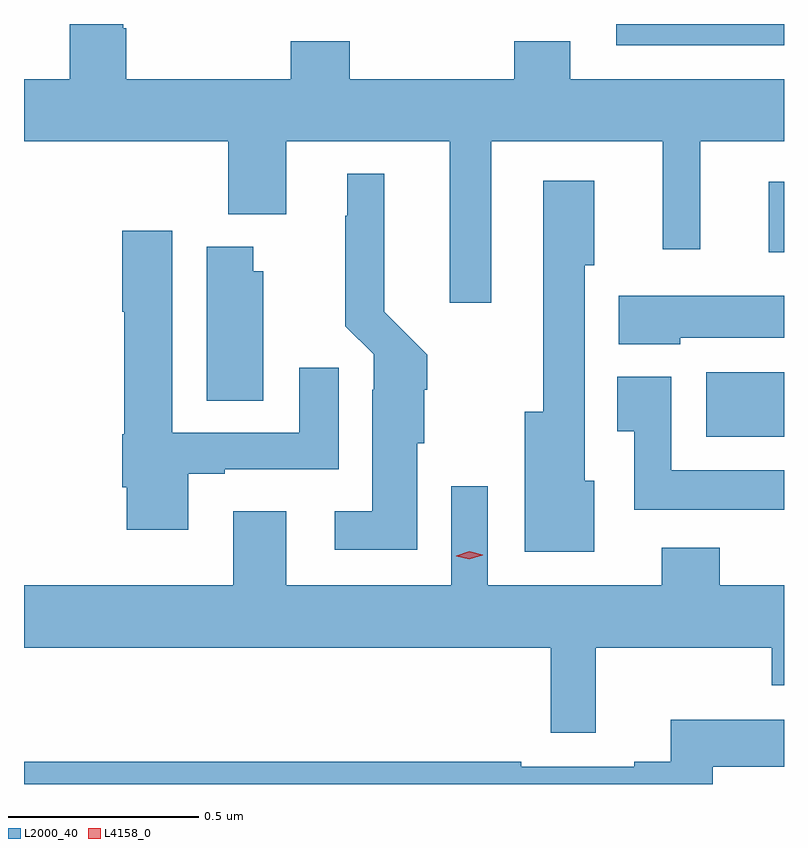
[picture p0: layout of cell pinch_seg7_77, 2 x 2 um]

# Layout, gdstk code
import gdstk
lib = gdstk.Library(unit=1e-6, precision=1e-09)
def R(c, l, rs):  # rectangles x0, y0, x1, y1
    for r in rs: c.add(gdstk.rectangle(r[:2], r[2:], *l))
def P(c, l, *ps):  # polygons
    for p in ps: c.add(gdstk.Polygon(p, *l))
L2000_40 = (2000, 40)
L4158_0 = (4158, 0)

pinch_seg7_77 = lib.new_cell('pinch_seg7_77')
R(pinch_seg7_77, L2000_40, [(997.178,1057.115,997.383,1057.285), (997.343,1057.601,997.383,1057.786), (996.942,1058.145,997.383,1058.201)])
P(pinch_seg7_77, L2000_40, [(996.613,1057.892),(997.064,1057.892),(997.064,1057.608),(997.163,1057.608),(997.163,1057.892),(997.383,1057.892),(997.383,1058.056),(996.82,1058.056),(996.82,1058.155),(996.673,1058.155),(996.673,1058.056),(996.24,1058.056),(996.24,1058.155),(996.085,1058.155),(996.085,1058.056),(995.652,1058.056),(995.652,1058.19),(995.644,1058.19),(995.644,1058.201),(995.504,1058.201),(995.504,1058.056),(995.383,1058.056),(995.383,1057.892),(995.921,1057.892),(995.921,1057.7),(996.073,1057.7),(996.073,1057.892),(996.503,1057.892),(996.503,1057.467),(996.613,1057.467)],
  [(996.418,1057.098),(996.436,1057.098),(996.436,1057.238),(996.444,1057.238),(996.444,1057.331),(996.331,1057.444),(996.331,1057.807),(996.233,1057.807),(996.233,1057.697),(996.229,1057.697),(996.229,1057.406),(996.303,1057.332),(996.303,1057.238),(996.299,1057.238),(996.299,1056.919),(996.201,1056.919),(996.201,1056.818),(996.418,1056.818)],
  [(996.883,1056.999),(996.859,1056.999),(996.859,1057.566),(996.883,1057.566),(996.883,1057.789),(996.749,1057.789),(996.749,1057.18),(996.701,1057.18),(996.701,1056.812),(996.883,1056.812)],
  [(995.815,1057.017),(995.911,1057.017),(995.911,1057.029),(996.211,1057.029),(996.211,1057.297),(996.107,1057.297),(996.107,1057.125),(995.773,1057.125),(995.773,1057.657),(995.642,1057.657),(995.642,1057.444),(995.647,1057.444),(995.647,1057.122),(995.642,1057.122),(995.642,1056.982),(995.654,1056.982),(995.654,1056.87),(995.815,1056.87)],
  [(996.013,1057.551),(995.986,1057.551),(995.986,1057.615),(995.864,1057.615),(995.864,1057.21),(996.013,1057.21)],
  [(997.11,1057.376),(997.383,1057.376),(997.383,1057.486),(996.948,1057.486),(996.948,1057.358),(997.11,1057.358)],
  [(997.383,1057.027),(997.086,1057.027),(997.086,1057.273),(996.944,1057.273),(996.944,1057.129),(996.989,1057.129),(996.989,1056.923),(997.383,1056.923)],
  [(996.887,1056.56),(997.351,1056.56),(997.351,1056.461),(997.383,1056.461),(997.383,1056.724),(997.214,1056.724),(997.214,1056.823),(997.061,1056.823),(997.061,1056.724),(996.603,1056.724),(996.603,1056.985),(996.507,1056.985),(996.507,1056.724),(996.073,1056.724),(996.073,1056.919),(995.933,1056.919),(995.933,1056.724),(995.383,1056.724),(995.383,1056.56),(996.769,1056.56),(996.769,1056.336),(996.887,1056.336)],
  [(997.195,1056.247),(997.383,1056.247),(997.383,1056.37),(997.085,1056.37),(997.085,1056.259),(996.989,1056.259),(996.989,1056.246),(996.692,1056.246),(996.692,1056.259),(995.383,1056.259),(995.383,1056.201),(997.195,1056.201)])
P(pinch_seg7_77, L4158_0, [(996.555,1056.793),(996.52,1056.801),(996.52,1056.802),(996.52,1056.802),(996.555,1056.813),(996.59,1056.804),(996.59,1056.804),(996.59,1056.803)])

lib.write_gds('pinch_seg7_77.gds')
